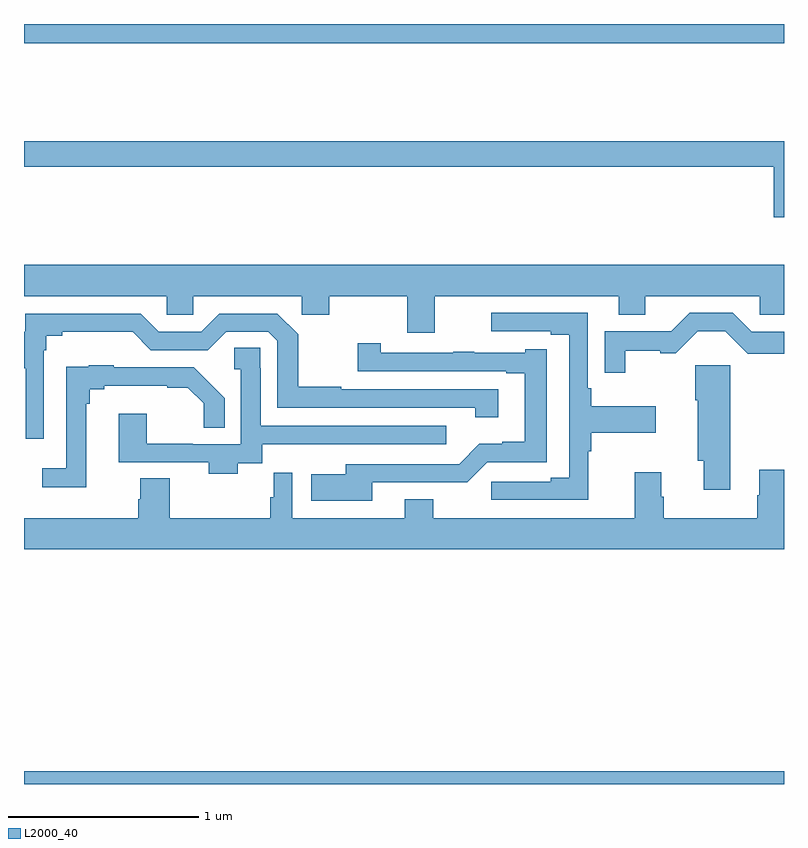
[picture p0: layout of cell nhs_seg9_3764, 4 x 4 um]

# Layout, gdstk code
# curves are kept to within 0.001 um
import gdstk
lib = gdstk.Library(unit=1e-6, precision=1e-09)
def R(c, l, rs):  # rectangles x0, y0, x1, y1
    for r in rs: c.add(gdstk.rectangle(r[:2], r[2:], *l))
def P(c, l, *ps):  # polygons
    for p in ps: c.add(gdstk.Polygon(p, *l))
L2000_40 = (2000, 40)

nhs_seg9_3764 = lib.new_cell('nhs_seg9_3764')
R(nhs_seg9_3764, L2000_40, [(325,1212.5,329,1212.568), (325,1216.4,329,1216.5)])
P(nhs_seg9_3764, L2000_40, [(329,1215.884),(325,1215.884),(325,1215.748),(328.946,1215.748),(328.946,1215.483),(329,1215.483)],
  [(327.163,1215.068),(328.13,1215.068),(328.13,1214.969),(328.27,1214.969),(328.27,1215.068),(328.872,1215.068),(328.872,1214.97),(329,1214.97),(329,1215.232),(325,1215.232),(325,1215.068),(325.752,1215.068),(325.752,1214.97),(325.89,1214.97),(325.89,1215.068),(326.461,1215.068),(326.461,1214.97),(326.607,1214.97),(326.607,1215.068),(327.016,1215.068),(327.016,1214.874),(327.163,1214.874)],
  [(328.165,1214.779),(328.349,1214.779),(328.349,1214.767),(328.43,1214.767),(328.545,1214.882),(328.69,1214.882),(328.808,1214.764),(329,1214.764),(329,1214.88),(328.83,1214.88),(328.731,1214.979),(328.503,1214.979),(328.406,1214.882),(328.056,1214.882),(328.056,1214.664),(328.165,1214.664)],
  [(327.969,1214.252),(327.986,1214.252),(327.986,1214.348),(328.324,1214.348),(328.324,1214.488),(327.986,1214.488),(327.986,1214.584),(327.966,1214.584),(327.966,1214.979),(327.459,1214.979),(327.459,1214.883),(327.773,1214.883),(327.773,1214.865),(327.87,1214.865),(327.87,1214.111),(327.773,1214.111),(327.773,1214.091),(327.459,1214.091),(327.459,1213.995),(327.969,1213.995)],
  [(325.104,1214.783),(325.117,1214.783),(325.117,1214.86),(325.201,1214.86),(325.201,1214.879),(325.573,1214.879),(325.668,1214.784),(325.968,1214.784),(326.064,1214.88),(326.286,1214.88),(326.334,1214.832),(326.334,1214.481),(327.375,1214.481),(327.375,1214.43),(327.496,1214.43),(327.496,1214.577),(326.669,1214.577),(326.669,1214.59),(326.443,1214.59),(326.443,1214.867),(326.334,1214.976),(326.028,1214.976),(325.932,1214.88),(325.71,1214.88),(325.614,1214.976),(325.006,1214.976),(325.006,1214.88),(325,1214.88),(325,1214.687),(325.008,1214.687),(325.008,1214.316),(325.104,1214.316)],
  [(326.833,1214.088),(327.332,1214.087),(327.438,1214.193),(327.751,1214.193),(327.751,1214.788),(327.639,1214.788),(327.639,1214.769),(327.371,1214.769),(327.371,1214.774),(327.259,1214.774),(327.259,1214.769),(326.877,1214.769),(326.877,1214.821),(326.757,1214.821),(326.757,1214.673),(327.539,1214.673),(327.539,1214.661),(327.635,1214.661),(327.635,1214.302),(327.516,1214.302),(327.516,1214.29),(327.397,1214.29),(327.291,1214.184),(326.693,1214.184),(326.693,1214.131),(326.511,1214.131),(326.511,1213.991),(326.833,1213.991)],
  [(326.125,1214.189),(326.254,1214.189),(326.254,1214.288),(326.523,1214.288),(326.523,1214.289),(327.223,1214.289),(327.223,1214.385),(326.245,1214.385),(326.245,1214.687),(326.244,1214.687),(326.244,1214.795),(326.106,1214.795),(326.106,1214.684),(326.141,1214.684),(326.141,1214.289),(325.889,1214.289),(325.889,1214.291),(325.647,1214.291),(325.647,1214.449),(325.499,1214.449),(325.499,1214.193),(325.973,1214.193),(325.973,1214.132),(326.125,1214.132)],
  [(325.327,1214.501),(325.345,1214.501),(325.345,1214.578),(325.423,1214.578),(325.423,1214.597),(325.754,1214.597),(325.754,1214.586),(325.863,1214.586),(325.947,1214.503),(325.947,1214.374),(326.056,1214.374),(326.056,1214.531),(325.972,1214.614),(325.973,1214.615),(325.894,1214.694),(325.473,1214.694),(325.473,1214.704),(325.341,1214.704),(325.341,1214.696),(325.223,1214.696),(325.223,1214.161),(325.095,1214.161),(325.095,1214.063),(325.327,1214.063)],
  [(328.717,1214.704),(328.532,1214.704),(328.532,1214.52),(328.547,1214.52),(328.547,1214.201),(328.577,1214.201),(328.577,1214.049),(328.717,1214.049)],
  [(329,1214.155),(328.871,1214.155),(328.871,1214.019),(328.859,1214.019),(328.859,1213.9),(328.367,1213.9),(328.367,1214.012),(328.354,1214.012),(328.354,1214.14),(328.214,1214.14),(328.214,1213.9),(327.153,1213.9),(327.153,1213.999),(327.005,1213.999),(327.005,1213.9),(326.412,1213.9),(326.412,1214.137),(326.315,1214.137),(326.315,1214.01),(326.296,1214.01),(326.296,1213.9),(325.766,1213.9),(325.766,1214.108),(325.613,1214.108),(325.613,1213.998),(325.601,1213.998),(325.601,1213.9),(325,1213.9),(325,1213.736),(329,1213.736)])

lib.write_gds('nhs_seg9_3764.gds')
